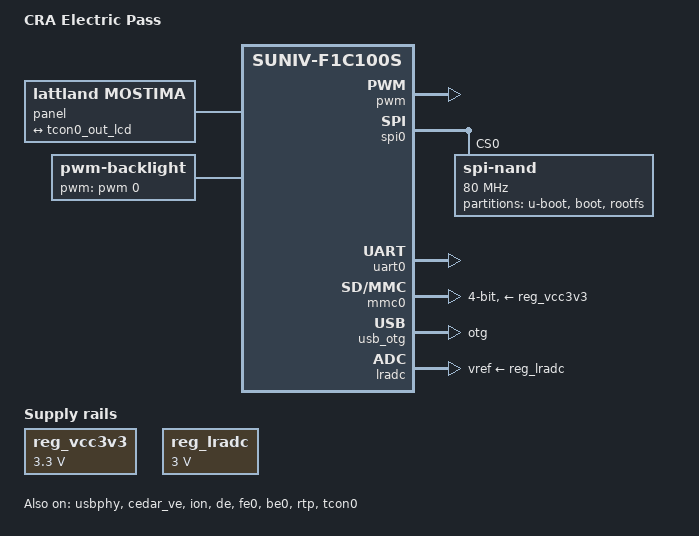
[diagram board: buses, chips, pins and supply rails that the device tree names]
// SPDX-License-Identifier: (GPL-2.0+ OR X11)
/* 电子通行证公共硬件 */
#include "suniv-f1c100s.dtsi"
#include <dt-bindings/input/input.h> 
#include <dt-bindings/gpio/gpio.h>
#include <dt-bindings/display/st7701initseq.h>

/ {
	/* Model */
	model = "CRA Electric Pass";
	compatible = "cra,electric-pass",
	         "allwinner,suniv-f1c200s",
			 "allwinner,suniv-f1c100s";

	chosen {
		#address-cells = <1>;
		#size-cells = <1>;
		ranges;

		/* U-Boot 传入实际:根文件系统位置|串口控制台|UBI/UBIFS参数|NAND分区参数 */
		/* bootargs 仅作占位 */
		bootargs = "Don`t give yourselves to those unnatural men -- you are not machines -- you are men";
	};

	/* LCD panel */
	/* DE → TCON0 → RGB LCD panel*/
	/* RGB565 总线 | 384*640 | 60Hz */
	panel: panel {
		compatible = "lattland,mostima", "simple-panel";

		#address-cells = <1>;
		#size-cells = <0>;

		port@0 {
			reg = <0>;
			#address-cells = <1>;
			#size-cells = <0>;

			panel_input: endpoint@0 {
				reg = <0>;
				remote-endpoint = <&tcon0_out_lcd>;
			};
		};
	};

	/* Regulayor */ 	
	/* vcc3v3 - 3.3V */
	/* lradc_vref - 3.0V */
	reg_vcc3v3: vcc3v3 {
		compatible = "regulator-fixed";
		regulator-name = "vcc3v3";
		regulator-min-microvolt = <3300000>;
		regulator-max-microvolt = <3300000>;
	};

	reg_lradc: reg_lradc {
		compatible = "regulator-fixed";
		regulator-name = "lradc_vref";
		regulator-min-microvolt = <3000000>;
		regulator-max-microvolt = <3000000>;
	};

	/* BackLight */
	/* PWM.T = 100kHz */
	/* default = 6 => 128 */
	backlight {
		compatible = "pwm-backlight";
		pwms = <&pwm 0 10000 0>;
		

		brightness-levels = <0 4 8 16 32 64 128 196 220 255>;
		default-brightness-level = <6>;
	};

	/* ST7701 Init */
	st7701initseq: st7701initseq {
		compatible = "lattland,st7701-initseq";
		status = "disabled";
	};
};

/* GPIO */
&pio{

	spi1_pins: spi1-pins {
		pins = "PE7","PE8", "PE9", "PE10";
		function = "spi1";
		bias-pull-up;
	};

	rtp_pins_0: rtp-pins-0 {
		pins = "PA0";
		function = "rtp";
	};

    rtp_pins_01: rtp-pins-01 {
		pins = "PA0","PA1";
		function = "rtp";
	};
	
	lcd_rgb565_no_de_pins: lcd-rgb565-no-de-pins {
		pins = "PD1", "PD2", "PD3", "PD4", "PD5",
			"PD6", "PD7", "PD8", "PD9", "PD10", "PD11", 
			"PD13", "PD14", "PD15", "PD16", "PD17",
			"PD18", "PD20", "PD21";
		function = "lcd";
	};

    i2s_pins_pe: i2s-pins-pe {
		pins = "PE3","PE5","PE6","PA1";
		function = "i2s";
	};

    i2s_pins_pa: i2s-pins-pa {
		pins = "PE3","PA2","PA3","PA1";
		function = "i2s";
	};

};

/* PWM */
&pwm {
	pinctrl-names = "default";
	pinctrl-0 = <&pwm0_pe_pins>;
	status = "okay";
};

/* SPI-NAND */
/* u-boot | 0x000000 | 1MiB */
/* boot | 0x100000 | 6MiB */
/* rootfs | 0x700000 | 121MiB */
&spi0 {
	status = "okay";

	spi-nand@0 {
		#address-cells = <1>;
		#size-cells = <1>;
		compatible = "spi-nand";
		reg = <0>;
		spi-max-frequency = <80000000>;
		status = "okay";

		partitions {
			compatible = "fixed-partitions";
			#address-cells = <1>;
			#size-cells = <1>;

			partition@0 {
				label = "u-boot";
				reg = <0x000000 0x100000>;
				read-only;
			};

			partition@1 {
				label = "boot";
				reg = <0x100000 0x600000>;
			};

			partition@2 {
				label = "rootfs";
				reg = <0x700000 0x7900000>;
			};
		};
	};
};

/* SPI1 */
&spi1 {
	pinctrl-names = "default";
	pinctrl-0 = <&spi1_pins>;
	status = "disabled";
	spidev@0 {
	/* Same as "spidev" but without errors at boot. Search "buggy DT" to understand */
	   compatible = "rohm,dh2228fv";	
	   spi-max-frequency = <80000000>;
	   reg = <0>;
	};
};

/* UART */
&uart0 {
	pinctrl-names = "default";
	pinctrl-0 = <&uart0_pe_pins>;
	status = "okay";
};
&uart1 {
	pinctrl-names = "default";
	pinctrl-0 = <&uart1_pa_pins>;
	status = "disabled";
};
&uart2 {
	pinctrl-names = "default";
	pinctrl-0 = <&uart2_pe_pins>;
	status = "disabled";
};

/* SD */
&mmc0 {	
	vmmc-supply = <&reg_vcc3v3>;
	bus-width = <4>;
	status = "okay";
	broken-cd;
};

/* USB */
&otg_sram {
	status = "okay";
};

&usb_otg {
	dr_mode = "otg"; 
	status = "okay";
};

&usbphy {
	status = "okay";
};

/* Video Engine */
&cedar_ve {
	status = "okay";
};

&ion {
	status = "okay";
};

&de {
	status = "okay";
};

&fe0 {
	status = "okay";
};

&be0 {
	status = "okay";
};

&tve0 {
	status = "disabled";
};

&rtp {
	status = "okay";
	pinctrl-0 = <&rtp_pins_0>;
	pinctrl-names = "default";
};

&tcon0 {
	pinctrl-names = "default";
	pinctrl-0 = <&lcd_rgb565_no_de_pins>;
	status = "okay";
};

&tcon0_out {
	tcon0_out_lcd: endpoint@0 {
		reg = <0>;
		remote-endpoint = <&panel_input>;
	};
};

&lradc {
	vref-supply = <&reg_lradc>;
	status = "okay";
};

&i2c0 {
	pinctrl-names = "default";
	pinctrl-0 = <&i2c0_pd_pins>;
	status = "disabled";
};
